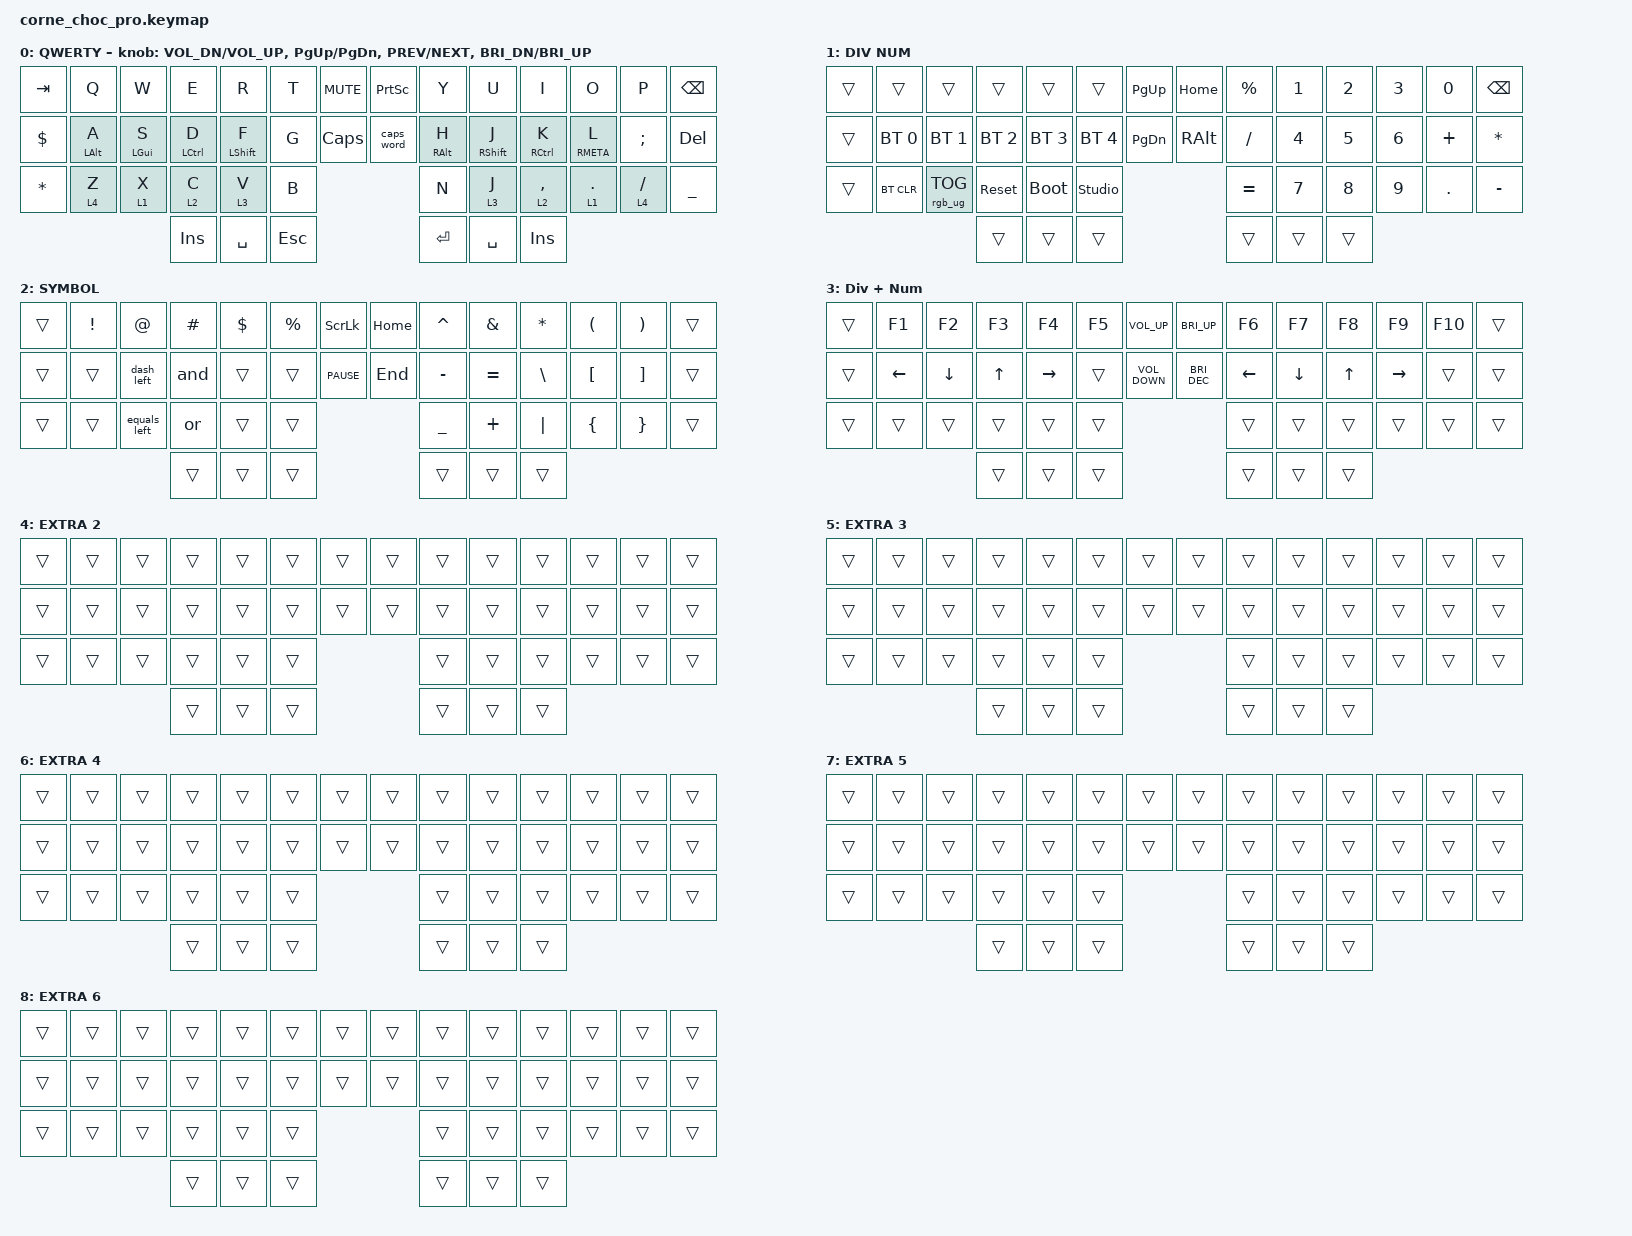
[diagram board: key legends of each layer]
/*
 * Copyright (c) 2020 The ZMK Contributors
 *
 * SPDX-License-Identifier: MIT
 */

#include <behaviors.dtsi>
#include <dt-bindings/zmk/bt.h>
#include <dt-bindings/zmk/keys.h>
#include <dt-bindings/zmk/rgb.h>

/ {
    chosen { zmk,physical-layout = &default_layout; };
};

/ {
    macros {
        dash_left: dash_left {
            compatible = "zmk,behavior-macro";
            #binding-cells = <0>;
            bindings = <&none &kp MINUS &kp GT>;
            label = "DASH_LEFT";
        };

        equals_left: equals_left {
            compatible = "zmk,behavior-macro";
            #binding-cells = <0>;
            bindings = <&none &kp EQUAL &kp GT>;
            label = "EQUALS_LEFT";
        };

        or: or {
            compatible = "zmk,behavior-macro";
            #binding-cells = <0>;
            bindings = <&none &kp PIPE &kp PIPE>;
            label = "OR";
        };

        and: and {
            compatible = "zmk,behavior-macro";
            #binding-cells = <0>;
            bindings = <&none &kp AMPS &kp AMPS>;
            label = "AND";
        };
    };

    keymap {
        compatible = "zmk,keymap";

        default_layer {
            display-name = "QWERTY";

            // --------------------------------------------------------------------------------
            // |  TAB |  Q  |  W  |  E  |  R  |  T  |  MUTE |  PP   |  Y  |  U   |  I  |  O  |  P  | BSPC |
            // | CTRL |  A  |  S  |  D  |  F  |  G  |  LALT |  RALT |  H  |  J   |  K  |  L  |  ;  |  '   |
            // | SHFT |  Z  |  X  |  C  |  V  |  B  |               |  N  |  M   |  ,  |  .  |  /  | ESC  |
            //                    | GUI | LWR | SPC |               | ENT | RSE  | ALT |

            bindings = <
&kp TAB     &kp Q           &kp W           &kp E        &kp R             &kp T       &kp C_MUTE    &kp PRINTSCREEN  &kp Y            &kp U              &kp I        &kp O        &kp P        &kp BSPC
&kp DOLLAR  &mt LEFT_ALT A  &mt LEFT_GUI S  &mt LCTRL D  &mt LEFT_SHIFT F  &kp G       &kp CAPSLOCK  &caps_word       &mt RIGHT_ALT H  &mt RIGHT_SHIFT J  &mt RCTRL K  &mt RMETA L  &kp SEMI     &kp DELETE
&kp STAR    &lt 4 Z         &lt 1 X         &lt 2 C      &lt 3 V           &kp B                                      &kp N            &lt 3 J            &lt 2 COMMA  &lt 1 DOT    &lt 4 SLASH  &kp UNDER
                                            &kp INS      &kp SPACE         &kp ESCAPE                                 &kp RET          &kp SPACE          &kp INS
            >;

            sensor-bindings = <&inc_dec_kp C_VOL_DN C_VOL_UP &inc_dec_kp PG_UP PG_DN &inc_dec_kp C_PREV C_NEXT &inc_dec_kp C_BRI_DN C_BRI_UP>;
        };

        DIV-NUM {
            display-name = "DIV NUM";

            // -----------------------------------------------------------------------------------------
            // |  TAB |  1  |  2  |  3  |  4  |  5    |  LCTRL | RCTRL |  6  |  7  |  8  |  9  |  0  | BSPC |
            // | CTRL | BT1 | BT2 | BT3 | BT4 | BT5   |  LALT  | RALT  | LFT | DWN |  UP | RGT |     |      |
            // | SHFT | BTCR| RGB | RST | BOOT| Unlock|        |       |     |     |     |     |     |      |
            //                    | GUI |     | SPC   |        | ENT   |     | ALT |

            bindings = <
&trans  &trans        &trans           &trans        &trans        &trans          &kp PAGE_UP    &kp HOME  &kp PERCENT  &kp NUMBER_1  &kp NUMBER_2  &kp NUMBER_3  &kp N0    &kp BSPC
&trans  &bt BT_SEL 0  &bt BT_SEL 1     &bt BT_SEL 2  &bt BT_SEL 3  &bt BT_SEL 4    &kp PAGE_DOWN  &kp RALT  &kp SLASH    &kp NUMBER_4  &kp N5        &kp NUMBER_6  &kp PLUS  &kp STAR
&trans  &bt BT_CLR    &rgb_ug RGB_TOG  &sys_reset    &bootloader   &studio_unlock                           &kp EQUAL    &kp N7        &kp N8        &kp N9        &kp DOT   &kp MINUS
                                       &trans        &trans        &trans                                   &trans       &trans        &trans
            >;
        };

        Symbol {
            display-name = "SYMBOL";

            // -----------------------------------------------------------------------------------------
            // |  TAB |  !  |  @  |  #  |  $  |  %  | LCTRL | RCTRL |  ^  |  &  |  *  |  (  |  )  | BSPC |
            // | CTRL |     |     |     |     |     |  LALT | RALT  |  -  |  =  |  [  |  ]  |  \  |  `   |
            // | SHFT |     |     |     |     |     |               |  _  |  +  |  {  |  }  | "|" |  ~   |
            //                    | GUI |     | SPC |               | ENT |     | ALT |

            bindings = <
&trans  &kp EXCL  &kp AT        &kp HASH  &kp DLLR  &kp PRCNT  &kp SCROLLLOCK  &kp HOME  &kp CARET  &kp AMPS   &kp ASTRK      &kp LPAR          &kp RPAR           &trans
&trans  &trans    &dash_left    &and      &trans    &trans     &kp C_PAUSE     &kp END   &kp MINUS  &kp EQUAL  &kp BACKSLASH  &kp LEFT_BRACKET  &kp RIGHT_BRACKET  &trans
&trans  &trans    &equals_left  &or       &trans    &trans                               &kp UNDER  &kp PLUS   &kp PIPE       &kp LEFT_BRACE    &kp RIGHT_BRACE    &trans
                                &trans    &trans    &trans                               &trans     &trans     &trans
            >;
        };

        FUNCTION {
            display-name = "Div + Num";
            bindings = <
&trans  &kp F1          &kp F2          &kp F3        &kp F4           &kp F5  &kp K_VOLUME_UP    &kp C_BRI_UP   &kp F6          &kp F7          &kp F8        &kp F9           &kp F10  &trans
&trans  &kp LEFT_ARROW  &kp DOWN_ARROW  &kp UP_ARROW  &kp RIGHT_ARROW  &trans  &kp K_VOLUME_DOWN  &kp C_BRI_DEC  &kp LEFT_ARROW  &kp DOWN_ARROW  &kp UP_ARROW  &kp RIGHT_ARROW  &trans   &trans
&trans  &trans          &trans          &trans        &trans           &trans                                    &trans          &trans          &trans        &trans           &trans   &trans
                                        &trans        &trans           &trans                                    &trans          &trans          &trans
            >;
        };

        MOUSE {
            display-name = "EXTRA 2";
            bindings = <
&trans  &trans  &trans  &trans  &trans  &trans  &trans  &trans  &trans  &trans  &trans  &trans  &trans  &trans
&trans  &trans  &trans  &trans  &trans  &trans  &trans  &trans  &trans  &trans  &trans  &trans  &trans  &trans
&trans  &trans  &trans  &trans  &trans  &trans                  &trans  &trans  &trans  &trans  &trans  &trans
                        &trans  &trans  &trans                  &trans  &trans  &trans
            >;
        };

        extra_layer_3 {
            display-name = "EXTRA 3";
            bindings = <
&trans  &trans  &trans  &trans  &trans  &trans  &trans  &trans  &trans  &trans  &trans  &trans  &trans  &trans
&trans  &trans  &trans  &trans  &trans  &trans  &trans  &trans  &trans  &trans  &trans  &trans  &trans  &trans
&trans  &trans  &trans  &trans  &trans  &trans                  &trans  &trans  &trans  &trans  &trans  &trans
                        &trans  &trans  &trans                  &trans  &trans  &trans
            >;
        };

        extra_layer_4 {
            display-name = "EXTRA 4";
            bindings = <
&trans  &trans  &trans  &trans  &trans  &trans  &trans  &trans  &trans  &trans  &trans  &trans  &trans  &trans
&trans  &trans  &trans  &trans  &trans  &trans  &trans  &trans  &trans  &trans  &trans  &trans  &trans  &trans
&trans  &trans  &trans  &trans  &trans  &trans                  &trans  &trans  &trans  &trans  &trans  &trans
                        &trans  &trans  &trans                  &trans  &trans  &trans
            >;
        };

        extra_layer_5 {
            display-name = "EXTRA 5";
            bindings = <
&trans  &trans  &trans  &trans  &trans  &trans  &trans  &trans  &trans  &trans  &trans  &trans  &trans  &trans
&trans  &trans  &trans  &trans  &trans  &trans  &trans  &trans  &trans  &trans  &trans  &trans  &trans  &trans
&trans  &trans  &trans  &trans  &trans  &trans                  &trans  &trans  &trans  &trans  &trans  &trans
                        &trans  &trans  &trans                  &trans  &trans  &trans
            >;
        };

        extra_layer_6 {
            display-name = "EXTRA 6";
            bindings = <
&trans  &trans  &trans  &trans  &trans  &trans  &trans  &trans  &trans  &trans  &trans  &trans  &trans  &trans
&trans  &trans  &trans  &trans  &trans  &trans  &trans  &trans  &trans  &trans  &trans  &trans  &trans  &trans
&trans  &trans  &trans  &trans  &trans  &trans                  &trans  &trans  &trans  &trans  &trans  &trans
                        &trans  &trans  &trans                  &trans  &trans  &trans
            >;
        };
    };
};
